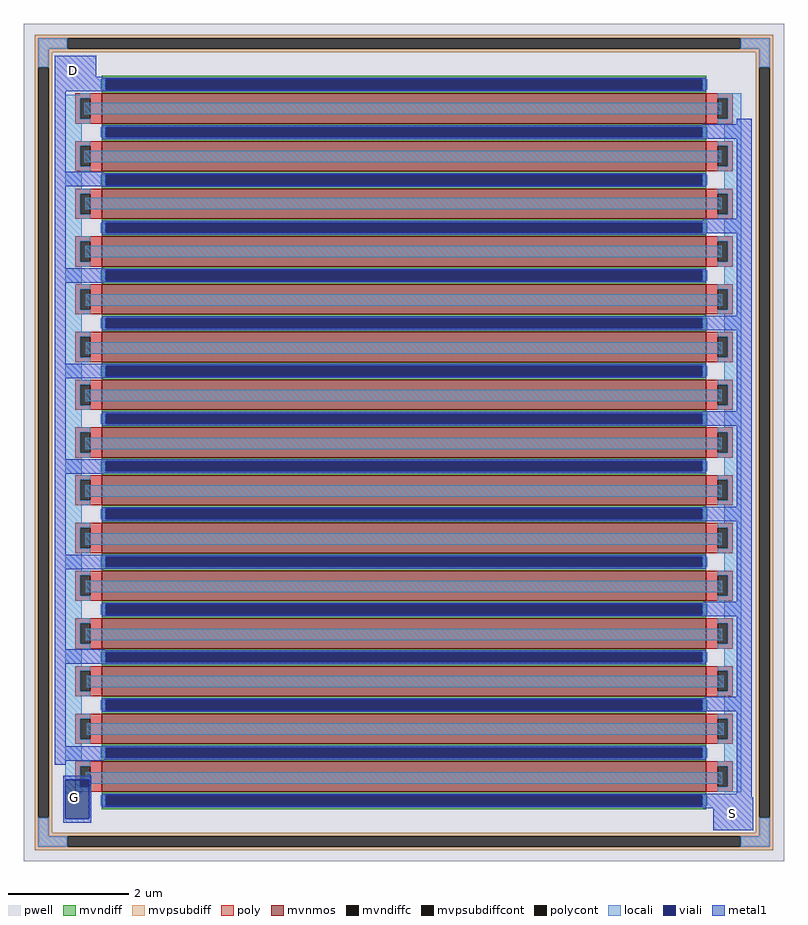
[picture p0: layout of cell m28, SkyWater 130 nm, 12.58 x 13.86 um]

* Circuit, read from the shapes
.subckt m28 D G S
XM1 D G S VSUBS sky130_fd_pr__nfet_g5v0d10v5 w=10 l=0.5 m=15
.ends

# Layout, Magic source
magic
tech sky130A
magscale 1 2
<< locali >>
rect 70 2342 2178 2380
rect 70 2184 2178 2222
rect 72 2028 2180 2066
rect 72 1870 2180 1908
rect 74 1708 2182 1746
rect 74 1550 2182 1588
rect 72 1392 2180 1430
rect 72 1234 2180 1272
rect 72 1076 2180 1114
rect 72 918 2180 956
rect 74 760 2182 798
rect 74 602 2182 640
rect 78 446 2186 484
rect 78 288 2186 326
rect 74 140 2182 164
rect 86 126 2182 140
<< viali >>
rect 6 10 86 140
<< metal1 >>
rect -28 2467 110 2536
rect -28 2419 130 2467
rect -28 2153 8 2419
rect 2230 2310 2280 2328
rect 2116 2262 2280 2310
rect -28 2105 132 2153
rect -28 1833 8 2105
rect 2230 1996 2280 2262
rect 2118 1948 2280 1996
rect -28 1785 134 1833
rect -28 1517 8 1785
rect 2230 1676 2280 1948
rect 2120 1628 2280 1676
rect -28 1469 132 1517
rect -28 1201 8 1469
rect 2230 1360 2280 1628
rect 2118 1312 2280 1360
rect -28 1153 132 1201
rect -28 885 8 1153
rect 2230 1044 2280 1312
rect 2118 996 2280 1044
rect -28 837 134 885
rect -28 571 8 837
rect 2230 728 2280 996
rect 2120 680 2280 728
rect -28 523 138 571
rect -28 251 8 523
rect 2230 414 2280 680
rect 2124 366 2280 414
rect -28 203 134 251
rect -28 190 8 203
rect 0 140 92 152
rect 0 10 6 140
rect 86 10 92 140
rect 2230 94 2280 366
rect 2120 82 2280 94
rect 2120 46 2284 82
rect 0 -2 92 10
rect 2152 -28 2284 46
use sky130_fd_pr__nfet_g5v0d10v5_H9RT8X  sky130_fd_pr__nfet_g5v0d10v5_H9RT8X_0
transform 0 1 1128 -1 0 1256
box -1386 -1258 1386 1258
<< labels >>
flabel metal1 2216 28 2216 28 0 FreeSans 800 0 0 0 S
flabel metal1 34 2486 34 2486 0 FreeSans 800 0 0 0 D
flabel viali 36 80 36 80 0 FreeSans 800 0 0 0 G
<< end >>

# cell sky130_fd_pr__nfet_g5v0d10v5_H9RT8X: kit device sky130_fd_pr__nfet_g5v0d10v5, w 10 l 0.50 m 1 nf 15 diffcov 100 polycov 100 guard 1 glc 1 grc 1 gtc 1 gbc 1 tbcov 100 rlcov 100 topc 1 botc 1 poverlap 0 doverlap 1 lmin 0.50 wmin 0.42 class mosfet compatible {sky130_fd_pr__nfet_01v8 sky130_fd_pr__nfet_01v8_lvt sky130_fd_bs_flash__special_sonosfet_star sky130_fd_pr__nfet_g5v0d10v5 sky130_fd_pr__nfet_05v0_nvt sky130_fd_pr__nfet_03v3_nvt} full_metal 1 conn_gates 0 viasrc 100 viadrn 100 viagate 100 viagb 0 viagr 0 viagl 0 viagt 0 doports 1
